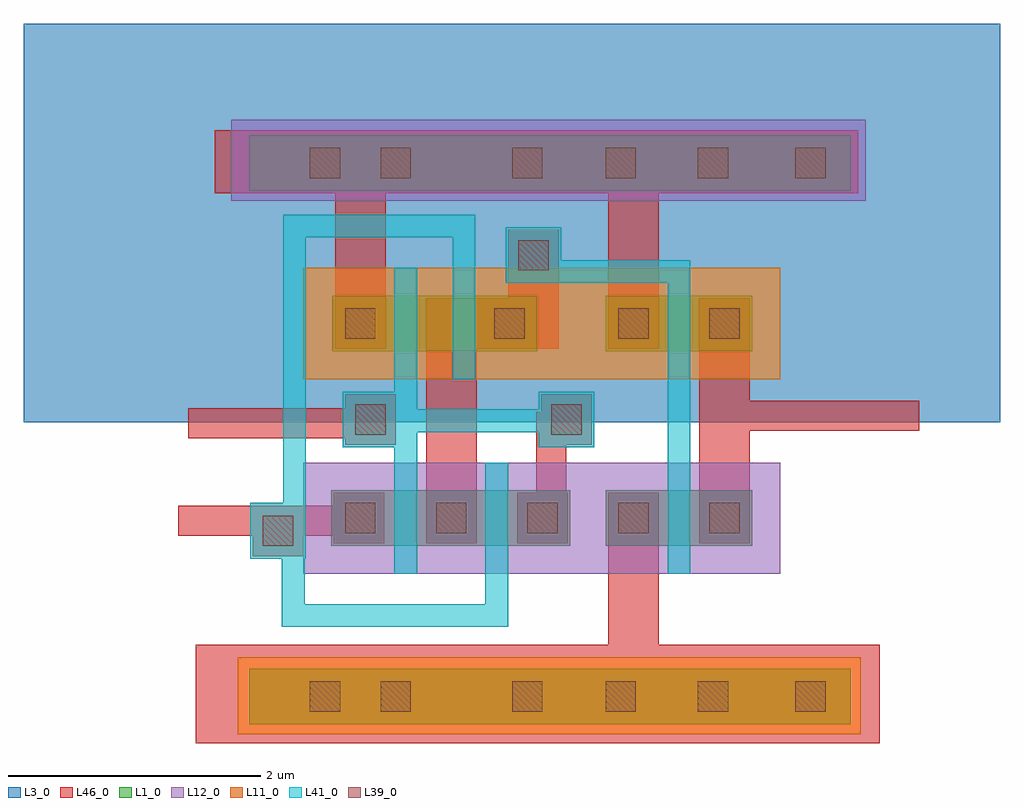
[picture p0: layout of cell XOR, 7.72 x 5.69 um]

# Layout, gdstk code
import gdstk
lib = gdstk.Library(unit=1e-6, precision=1e-09)
def R(c, l, rs):  # rectangles x0, y0, x1, y1
    for r in rs: c.add(gdstk.rectangle(r[:2], r[2:], *l))
def A(c, l, x, y, w, h, nx, ny, dx, dy):  # array of equal rectangles
    R(c, l, [(x+i*dx, y+j*dy, x+i*dx+w, y+j*dy+h) for i in range(nx) for j in range(ny)])
L1_0 = (1, 0)
L3_0 = (3, 0)
L11_0 = (11, 0)
L12_0 = (12, 0)
L39_0 = (39, 0)
L41_0 = (41, 0)
L46_0 = (46, 0)

xor = lib.new_cell('XOR')
R(xor, L1_0, [(-4.75,-0.4,0.01,0.04), (-4.1,1.01,-2.21,1.45), (-1.93,1.01,-0.77,1.45), (-4.09,2.55,-2.47,2.99), (-1.93,2.55,-0.77,2.99), (-4.75,3.82,0.01,4.26)])
R(xor, L3_0, [(-6.53,1.99,1.19,5.14)])
R(xor, L11_0, [(-4.84,-0.48,0.09,0.13), (-4.32,2.33,-0.55,3.21)])
R(xor, L12_0, [(-4.32,0.79,-0.55,1.67), (-4.89,3.74,0.13,4.38)])
A(xor, L39_0, -3.99, 1.11, 0.24, 0.24, 5, 1, 0.72, 0)
R(xor, L39_0, [(-4.27,-0.3,-4.03,-0.06), (-3.71,-0.3,-3.47,-0.06), (-2.67,-0.3,-2.43,-0.06), (-1.93,-0.3,-1.69,-0.06), (-1.2,-0.3,-0.96,-0.06), (-0.43,-0.3,-0.19,-0.06), (-4.64,1.01,-4.4,1.25), (-3.91,1.89,-3.67,2.13), (-2.36,1.89,-2.12,2.13), (-3.99,2.65,-3.75,2.89), (-2.81,2.65,-2.57,2.89), (-1.83,2.65,-1.59,2.89), (-1.11,2.65,-0.87,2.89), (-2.62,3.19,-2.38,3.43), (-4.27,3.92,-4.03,4.16), (-3.71,3.92,-3.47,4.16), (-2.67,3.92,-2.43,4.16), (-1.93,3.92,-1.69,4.16), (-1.2,3.92,-0.96,4.16), (-0.43,3.92,-0.19,4.16)])
R(xor, L41_0, [(-4.74,0.91,-4.3,1.35), (-4.01,1.79,-3.57,2.23), (-2.46,1.79,-2.02,2.23), (-2.72,3.09,-2.28,3.53)])
R(xor, L46_0, [(-5.17,-0.55,0.24,0.23), (-1.91,0.02,-1.51,1.43), (-4.72,0.93,-4.32,1.33), (-4.08,1.03,-3.68,1.43), (-3.35,1.03,-2.95,2.97), (-2.63,1.03,-2.23,1.43), (-1.19,1.03,-0.79,2.97), (-3.99,1.81,-3.59,2.21), (-2.44,1.81,-2.04,2.21), (-4.07,2.57,-3.67,3.96), (-3.32,2.57,-2.49,2.97), (-2.7,2.57,-2.3,3.51), (-1.91,2.57,-1.51,3.91), (-5.02,3.8,0.07,4.3)])
xor.add(gdstk.FlexPath([(-2.36,2.07),(-2.36,1.13)], 0.24, ends="flush", simple_path=True, layer=46, datatype=0))  # L46_0
xor.add(gdstk.FlexPath([(-5.31,1.21),(-3.92,1.21)], 0.24, ends="flush", simple_path=True, layer=46, datatype=0))  # L46_0
xor.add(gdstk.FlexPath([(-3.8,1.98),(-5.23,1.98)], 0.24, ends="flush", simple_path=True, layer=46, datatype=0))  # L46_0
xor.add(gdstk.FlexPath([(-0.88,2.04),(0.55,2.04)], 0.24, ends="flush", simple_path=True, layer=46, datatype=0))  # L46_0
xor.add(gdstk.FlexPath([(-3.05,2),(-2.08,2)], 0.18, ends=(0.09, 0), simple_path=True, layer=41, datatype=0))  # L41_0
xor.add(gdstk.FlexPath([(-3.05,0.46),(-4.4,0.46)], 0.18, ends="extended", simple_path=True, layer=41, datatype=0))  # L41_0
xor.add(gdstk.FlexPath([(-4.39,1.33),(-4.39,3.54)], 0.18, ends=(0, 0.09), simple_path=True, layer=41, datatype=0))  # L41_0
xor.add(gdstk.FlexPath([(-2.3,3.18),(-1.35,3.18)], 0.18, ends=(0, 0.09), simple_path=True, layer=41, datatype=0))  # L41_0
xor.add(gdstk.FlexPath([(-1.35,3.18),(-1.35,0.79)], 0.18, ends=(0.09, 0), simple_path=True, layer=41, datatype=0))  # L41_0
xor.add(gdstk.FlexPath([(-4.39,3.54),(-3.05,3.54)], 0.18, ends="extended", simple_path=True, layer=41, datatype=0))  # L41_0
xor.add(gdstk.FlexPath([(-4.4,0.46),(-4.4,0.92)], 0.18, ends=(0.09, 0), simple_path=True, layer=41, datatype=0))  # L41_0
xor.add(gdstk.FlexPath([(-3.51,2),(-3.05,2)], 0.18, ends="extended", simple_path=True, layer=41, datatype=0))  # L41_0
xor.add(gdstk.FlexPath([(-3.51,2),(-3.51,0.79)], 0.18, ends=(0.09, 0), simple_path=True, layer=41, datatype=0))  # L41_0
xor.add(gdstk.FlexPath([(-3.05,3.54),(-3.05,2.33)], 0.18, ends=(0.09, 0), simple_path=True, layer=41, datatype=0))  # L41_0
xor.add(gdstk.FlexPath([(-3.51,3.21),(-3.51,2)], 0.18, ends=(0, 0.09), simple_path=True, layer=41, datatype=0))  # L41_0
xor.add(gdstk.FlexPath([(-2.79,1.67),(-2.79,0.46)], 0.18, ends=(0, 0.09), simple_path=True, layer=41, datatype=0))  # L41_0
xor.add(gdstk.FlexPath([(-2.79,0.46),(-3.05,0.46)], 0.18, ends="extended", simple_path=True, layer=41, datatype=0))  # L41_0

lib.write_gds('XOR.gds')
